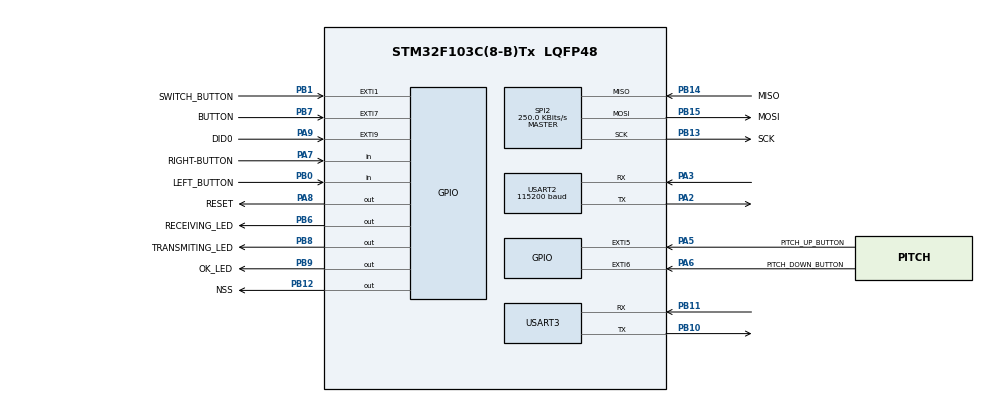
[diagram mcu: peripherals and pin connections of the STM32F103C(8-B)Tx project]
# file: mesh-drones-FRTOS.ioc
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Dma.Request0=USART2_TX
Dma.Request1=USART3_TX
Dma.Request2=USART3_RX
Dma.USART2_TX.0.Direction=DMA_MEMORY_TO_PERIPH
Dma.USART2_TX.0.Instance=DMA1_Channel7
Dma.USART2_TX.0.MemDataAlignment=DMA_MDATAALIGN_BYTE
Dma.USART2_TX.0.MemInc=DMA_MINC_ENABLE
Dma.USART2_TX.0.Mode=DMA_NORMAL
Dma.USART2_TX.0.PeriphDataAlignment=DMA_PDATAALIGN_BYTE
Dma.USART2_TX.0.PeriphInc=DMA_PINC_DISABLE
Dma.USART2_TX.0.Priority=DMA_PRIORITY_VERY_HIGH
Dma.USART3_RX.2.Direction=DMA_PERIPH_TO_MEMORY
Dma.USART3_RX.2.Instance=DMA1_Channel3
Dma.USART3_RX.2.MemDataAlignment=DMA_MDATAALIGN_BYTE
Dma.USART3_RX.2.MemInc=DMA_MINC_ENABLE
Dma.USART3_RX.2.Mode=DMA_NORMAL
Dma.USART3_RX.2.PeriphDataAlignment=DMA_PDATAALIGN_BYTE
Dma.USART3_RX.2.PeriphInc=DMA_PINC_DISABLE
Dma.USART3_RX.2.Priority=DMA_PRIORITY_LOW
Dma.USART3_TX.1.Direction=DMA_MEMORY_TO_PERIPH
Dma.USART3_TX.1.Instance=DMA1_Channel2
Dma.USART3_TX.1.MemDataAlignment=DMA_MDATAALIGN_BYTE
Dma.USART3_TX.1.MemInc=DMA_MINC_ENABLE
Dma.USART3_TX.1.Mode=DMA_NORMAL
Dma.USART3_TX.1.PeriphDataAlignment=DMA_PDATAALIGN_BYTE
Dma.USART3_TX.1.PeriphInc=DMA_PINC_DISABLE
Dma.USART3_TX.1.Priority=DMA_PRIORITY_LOW
FREERTOS.Tasks01=defaultTask,24,128,StartDefaultTask,Default,NULL,Dynamic,NULL,NULL
FREERTOS.configENABLE_FPU=1
FREERTOS.configTOTAL_HEAP_SIZE=12000
FREERTOS.configUSE_NEWLIB_REENTRANT=1
Mcu.Family=STM32F1
Mcu.Name=STM32F103C(8-B)Tx
Mcu.Package=LQFP48
NVIC.DMA1_Channel2_IRQn=true\:5\:0\:false\:false\:true\:true\:false\:true\:true
NVIC.DMA1_Channel3_IRQn=true\:5\:0\:false\:false\:true\:true\:false\:true\:true
NVIC.DMA1_Channel7_IRQn=true\:5\:0\:false\:false\:true\:true\:false\:true\:true
NVIC.EXTI1_IRQn=true\:5\:0\:false\:false\:true\:true\:true\:true\:true
NVIC.EXTI9_5_IRQn=true\:5\:0\:false\:false\:true\:true\:true\:true\:true
NVIC.PriorityGroup=NVIC_PRIORITYGROUP_4
NVIC.TIM3_IRQn=true\:15\:0\:false\:false\:true\:false\:false\:true\:true
NVIC.TimeBase=TIM3_IRQn
NVIC.TimeBaseIP=TIM3
NVIC.USART2_IRQn=true\:5\:0\:false\:false\:true\:true\:true\:true\:true
NVIC.USART3_IRQn=true\:5\:0\:false\:false\:true\:true\:true\:true\:true
PA13.Mode=Serial_Wire
PA13.Signal=SYS_JTMS-SWDIO
PA14.Mode=Serial_Wire
PA14.Signal=SYS_JTCK-SWCLK
PA2.Mode=Asynchronous
PA2.Signal=USART2_TX
PA3.Mode=Asynchronous
PA3.Signal=USART2_RX
PA5.GPIO_Label=PITCH_UP_BUTTON
PA5.GPIO_PuPd=GPIO_PULLDOWN
PA5.Signal=GPXTI5
PA6.GPIO_Label=PITCH_DOWN_BUTTON
PA6.GPIO_PuPd=GPIO_PULLDOWN
PA6.Signal=GPXTI6
PA7.GPIO_Label=RIGHT-BUTTON
PA7.Signal=GPIO_Input
PA8.GPIO_Label=RESET
PA8.PinState=GPIO_PIN_SET
PA8.Signal=GPIO_Output
PA9.GPIO_Label=DID0
PA9.Signal=GPXTI9
PB0.GPIO_Label=LEFT_BUTTON
PB0.Signal=GPIO_Input
PB1.GPIO_Label=SWITCH_BUTTON
PB1.GPIO_PuPd=GPIO_PULLDOWN
PB1.Signal=GPXTI1
PB10.Mode=Asynchronous
PB10.Signal=USART3_TX
PB11.Mode=Asynchronous
PB11.Signal=USART3_RX
PB12.GPIO_Label=NSS
PB12.PinState=GPIO_PIN_SET
PB12.Signal=GPIO_Output
PB13.GPIO_Label=SCK
PB13.Mode=Full_Duplex_Master
PB13.Signal=SPI2_SCK
PB14.GPIO_Label=MISO
PB14.Mode=Full_Duplex_Master
PB14.Signal=SPI2_MISO
PB15.GPIO_Label=MOSI
PB15.Mode=Full_Duplex_Master
PB15.Signal=SPI2_MOSI
PB6.GPIO_Label=RECEIVING_LED
PB6.Signal=GPIO_Output
PB7.GPIO_Label=BUTTON
PB7.GPIO_ModeDefaultEXTI=GPIO_MODE_IT_RISING
PB7.GPIO_PuPd=GPIO_PULLDOWN
PB7.Signal=GPXTI7
PB8.GPIO_Label=TRANSMITING_LED
PB8.Signal=GPIO_Output
PB9.GPIO_Label=OK_LED
PB9.Signal=GPIO_Output
PD0-OSC_IN.Mode=HSE-External-Oscillator
PD0-OSC_IN.Signal=RCC_OSC_IN
PD1-OSC_OUT.Mode=HSE-External-Oscillator
PD1-OSC_OUT.Signal=RCC_OSC_OUT
ProjectManager.HeapSize=0x200
ProjectManager.StackSize=0x400
ProjectManager.TargetToolchain=STM32CubeIDE
RCC.APB1Freq_Value=8000000
RCC.APB2Freq_Value=8000000
SPI2.BaudRatePrescaler=SPI_BAUDRATEPRESCALER_32
SPI2.CalculateBaudRate=250.0 KBits/s
SPI2.Direction=SPI_DIRECTION_2LINES
SPI2.Mode=SPI_MODE_MASTER
SPI2.VirtualType=VM_MASTER
USART2.BaudRate=115200
USART2.VirtualMode=VM_ASYNC
USART3.VirtualMode=VM_ASYNC
VP_FREERTOS_VS_CMSIS_V2.Mode=CMSIS_V2
VP_SYS_VS_tim3.Mode=TIM3
board=custom

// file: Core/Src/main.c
/* USER CODE BEGIN Header */
/**
  ******************************************************************************
  * @file           : main.c
  * @brief          : Main program body
  ******************************************************************************
  * @attention
  *
  * Copyright (c) 2025 STMicroelectronics.
  * All rights reserved.
  *
  * This software is licensed under terms that can be found in the LICENSE file
  * in the root directory of this software component.
  * If no LICENSE file comes with this software, it is provided AS-IS.
  *
  ******************************************************************************
  */
/* USER CODE END Header */
#include "main.h"
#include "cmsis_os.h"

/* USER CODE BEGIN Includes */
#include <stdio.h>
#include <string.h>

#include "flags.h"
#include "id.h"
#include "LoRa.h"
#include "NetworkData.h"
#include "Node.h"
#include "TX_Task.h"
#include "../Inc/Command_Queue.h"
#include "../Inc/xDrone_Link_task.h"
#include "../Inc/PING_task.h"
#include "../Inc/queue_implementation.h"
#include "../Inc/RX_Queue.h"

#include "../Inc/routing_task.h"
#include "../Inc/RX_Task.h"
#include "../Inc/tranmit_test.h"
#include "../Inc/TX_Queue.h"
#include "../Inc/arm_test.h"
#include "LoRa_Startup.h"
#include "../Inc/Logger.h"
/* USER CODE END Includes */

SPI_HandleTypeDef hspi2;

UART_HandleTypeDef huart2;
UART_HandleTypeDef huart3;
DMA_HandleTypeDef hdma_usart2_tx;
DMA_HandleTypeDef hdma_usart3_tx;
DMA_HandleTypeDef hdma_usart3_rx;

/* Definitions for defaultTask */
osThreadId_t defaultTaskHandle;
const osThreadAttr_t defaultTask_attributes = {
  .name = "defaultTask",
  .stack_size = 128 * 4,
  .priority = (osPriority_t) osPriorityNormal,
};

/* USER CODE BEGIN PV */
TaskHandle_t rxTaskHandle;
TaskHandle_t txTaskHandle;
TaskHandle_t routingTaskHandle;
TaskHandle_t pingTaskHandle;
TaskHandle_t drone_linkTaskHandle;
/* USER CODE END PV */

void SystemClock_Config(void);
static void MX_GPIO_Init(void);
static void MX_DMA_Init(void);
static void MX_SPI2_Init(void);
static void MX_USART2_UART_Init(void);
static void MX_USART3_UART_Init(void);
void StartDefaultTask(void *argument);

int main(void)
{

  /* MCU Configuration--------------------------------------------------------*/

  /* Reset of all peripherals, Initializes the Flash interface and the Systick. */
  HAL_Init();

  /* Configure the system clock */
  SystemClock_Config();

  /* Initialize all configured peripherals */
  MX_GPIO_Init();
  MX_DMA_Init();
  MX_SPI2_Init();
  MX_USART2_UART_Init();
  MX_USART3_UART_Init();
  /* USER CODE BEGIN 2 */

    flags_init();
    node_id_init();
    RX_Queue_init();
    TX_Queue_init();
    Command_Queue_init();
    LoRa_Startup();
    network_data_init();
    Drone_link_init();
    logger_init();

  /* USER CODE END 2 */

  /* Init scheduler */
  osKernelInitialize();

  /* Create the thread(s) */
  /* creation of defaultTask */
  defaultTaskHandle = osThreadNew(StartDefaultTask, NULL, &defaultTask_attributes);

  /* USER CODE BEGIN RTOS_THREADS */

        bool tasks_created_successfully =false;

        tasks_created_successfully = xTaskCreate(xRX_Task, "RX_Task", configMINIMAL_STACK_SIZE, 0, 6, &rxTaskHandle);
        tasks_created_successfully = xTaskCreate(routing_task, "Routing_Task", configMINIMAL_STACK_SIZE, 0, 5,
                                                    &routingTaskHandle);
        tasks_created_successfully = xTaskCreate(xPing_task, "Ping Task", 500, 0, 5, &pingTaskHandle);
        tasks_created_successfully = xTaskCreate(xTX_task, "TX_Task", 500, 0, 5, &txTaskHandle);
        tasks_created_successfully = xTaskCreate(xDrone_link_task, "Drone_Link_Task", 300, 0, 5, &drone_linkTaskHandle);
        log(INFO,SYSTEM,tasks_created_successfully ? "all Tasks created successfully" : "a task did not create successfully");

    //

    /* add threads, ... */
  /* USER CODE END RTOS_THREADS */

  /* Start scheduler */
  osKernelStart();

  /* We should never get here as control is now taken by the scheduler */

  /* Infinite loop */
    while (1) {

    }
}

void SystemClock_Config(void)
{
  RCC_OscInitTypeDef RCC_OscInitStruct = {0};
  RCC_ClkInitTypeDef RCC_ClkInitStruct = {0};

  /** Initializes the RCC Oscillators according to the specified parameters
  * in the RCC_OscInitTypeDef structure.
  */
  RCC_OscInitStruct.OscillatorType = RCC_OSCILLATORTYPE_HSI;
  RCC_OscInitStruct.HSIState = RCC_HSI_ON;
  RCC_OscInitStruct.HSICalibrationValue = RCC_HSICALIBRATION_DEFAULT;
  RCC_OscInitStruct.PLL.PLLState = RCC_PLL_NONE;
  if (HAL_RCC_OscConfig(&RCC_OscInitStruct) != HAL_OK)
  {
    Error_Handler();
  }

  /** Initializes the CPU, AHB and APB buses clocks
  */
  RCC_ClkInitStruct.ClockType = RCC_CLOCKTYPE_HCLK|RCC_CLOCKTYPE_SYSCLK
                              |RCC_CLOCKTYPE_PCLK1|RCC_CLOCKTYPE_PCLK2;
  RCC_ClkInitStruct.SYSCLKSource = RCC_SYSCLKSOURCE_HSI;
  RCC_ClkInitStruct.AHBCLKDivider = RCC_SYSCLK_DIV1;
  RCC_ClkInitStruct.APB1CLKDivider = RCC_HCLK_DIV1;
  RCC_ClkInitStruct.APB2CLKDivider = RCC_HCLK_DIV1;

  if (HAL_RCC_ClockConfig(&RCC_ClkInitStruct, FLASH_LATENCY_0) != HAL_OK)
  {
    Error_Handler();
  }
}

static void MX_SPI2_Init(void)
{

  /* SPI2 parameter configuration*/
  hspi2.Instance = SPI2;
  hspi2.Init.Mode = SPI_MODE_MASTER;
  hspi2.Init.Direction = SPI_DIRECTION_2LINES;
  hspi2.Init.DataSize = SPI_DATASIZE_8BIT;
  hspi2.Init.CLKPolarity = SPI_POLARITY_LOW;
  hspi2.Init.CLKPhase = SPI_PHASE_1EDGE;
  hspi2.Init.NSS = SPI_NSS_SOFT;
  hspi2.Init.BaudRatePrescaler = SPI_BAUDRATEPRESCALER_32;
  hspi2.Init.FirstBit = SPI_FIRSTBIT_MSB;
  hspi2.Init.TIMode = SPI_TIMODE_DISABLE;
  hspi2.Init.CRCCalculation = SPI_CRCCALCULATION_DISABLE;
  hspi2.Init.CRCPolynomial = 10;
  if (HAL_SPI_Init(&hspi2) != HAL_OK)
  {
    Error_Handler();
  }

}

static void MX_USART2_UART_Init(void)
{

  huart2.Instance = USART2;
  huart2.Init.BaudRate = 115200;
  huart2.Init.WordLength = UART_WORDLENGTH_8B;
  huart2.Init.StopBits = UART_STOPBITS_1;
  huart2.Init.Parity = UART_PARITY_NONE;
  huart2.Init.Mode = UART_MODE_TX_RX;
  huart2.Init.HwFlowCtl = UART_HWCONTROL_NONE;
  huart2.Init.OverSampling = UART_OVERSAMPLING_16;
  if (HAL_UART_Init(&huart2) != HAL_OK)
  {
    Error_Handler();
  }

}

static void MX_USART3_UART_Init(void)
{

  huart3.Instance = USART3;
  huart3.Init.BaudRate = 115200;
  huart3.Init.WordLength = UART_WORDLENGTH_8B;
  huart3.Init.StopBits = UART_STOPBITS_1;
  huart3.Init.Parity = UART_PARITY_NONE;
  huart3.Init.Mode = UART_MODE_TX_RX;
  huart3.Init.HwFlowCtl = UART_HWCONTROL_NONE;
  huart3.Init.OverSampling = UART_OVERSAMPLING_16;
  if (HAL_UART_Init(&huart3) != HAL_OK)
  {
    Error_Handler();
  }

}

static void MX_DMA_Init(void)
{

  /* DMA controller clock enable */
  __HAL_RCC_DMA1_CLK_ENABLE();

  /* DMA interrupt init */
  /* DMA1_Channel2_IRQn interrupt configuration */
  HAL_NVIC_SetPriority(DMA1_Channel2_IRQn, 5, 0);
  HAL_NVIC_EnableIRQ(DMA1_Channel2_IRQn);
  /* DMA1_Channel3_IRQn interrupt configuration */
  HAL_NVIC_SetPriority(DMA1_Channel3_IRQn, 5, 0);
  HAL_NVIC_EnableIRQ(DMA1_Channel3_IRQn);
  /* DMA1_Channel7_IRQn interrupt configuration */
  HAL_NVIC_SetPriority(DMA1_Channel7_IRQn, 5, 0);
  HAL_NVIC_EnableIRQ(DMA1_Channel7_IRQn);

}

static void MX_GPIO_Init(void)
{
  GPIO_InitTypeDef GPIO_InitStruct = {0};

  /* GPIO Ports Clock Enable */
  __HAL_RCC_GPIOD_CLK_ENABLE();
  __HAL_RCC_GPIOA_CLK_ENABLE();
  __HAL_RCC_GPIOB_CLK_ENABLE();

  /*Configure GPIO pin Output Level */
  HAL_GPIO_WritePin(NSS_GPIO_Port, NSS_Pin, GPIO_PIN_SET);

  /*Configure GPIO pin Output Level */
  HAL_GPIO_WritePin(RESET_GPIO_Port, RESET_Pin, GPIO_PIN_SET);

  /*Configure GPIO pin Output Level */
  HAL_GPIO_WritePin(GPIOB, RECEIVING_LED_Pin|TRANSMITING_LED_Pin|OK_LED_Pin, GPIO_PIN_RESET);

  /*Configure GPIO pins : PITCH_UP_BUTTON_Pin PITCH_DOWN_BUTTON_Pin */
  GPIO_InitStruct.Pin = PITCH_UP_BUTTON_Pin|PITCH_DOWN_BUTTON_Pin;
  GPIO_InitStruct.Mode = GPIO_MODE_IT_RISING;
  GPIO_InitStruct.Pull = GPIO_PULLDOWN;
  HAL_GPIO_Init(GPIOA, &GPIO_InitStruct);

  /*Configure GPIO pin : RIGHT_BUTTON_Pin */
  GPIO_InitStruct.Pin = RIGHT_BUTTON_Pin;
  GPIO_InitStruct.Mode = GPIO_MODE_INPUT;
  GPIO_InitStruct.Pull = GPIO_NOPULL;
  HAL_GPIO_Init(RIGHT_BUTTON_GPIO_Port, &GPIO_InitStruct);

  /*Configure GPIO pin : LEFT_BUTTON_Pin */
  GPIO_InitStruct.Pin = LEFT_BUTTON_Pin;
  GPIO_InitStruct.Mode = GPIO_MODE_INPUT;
  GPIO_InitStruct.Pull = GPIO_NOPULL;
  HAL_GPIO_Init(LEFT_BUTTON_GPIO_Port, &GPIO_InitStruct);

  /*Configure GPIO pins : SWITCH_BUTTON_Pin BUTTON_Pin */
  GPIO_InitStruct.Pin = SWITCH_BUTTON_Pin|BUTTON_Pin;
  GPIO_InitStruct.Mode = GPIO_MODE_IT_RISING;
  GPIO_InitStruct.Pull = GPIO_PULLDOWN;
  HAL_GPIO_Init(GPIOB, &GPIO_InitStruct);

  /*Configure GPIO pins : NSS_Pin RECEIVING_LED_Pin TRANSMITING_LED_Pin OK_LED_Pin */
  GPIO_InitStruct.Pin = NSS_Pin|RECEIVING_LED_Pin|TRANSMITING_LED_Pin|OK_LED_Pin;
  GPIO_InitStruct.Mode = GPIO_MODE_OUTPUT_PP;
  GPIO_InitStruct.Pull = GPIO_NOPULL;
  GPIO_InitStruct.Speed = GPIO_SPEED_FREQ_LOW;
  HAL_GPIO_Init(GPIOB, &GPIO_InitStruct);

  /*Configure GPIO pin : RESET_Pin */
  GPIO_InitStruct.Pin = RESET_Pin;
  GPIO_InitStruct.Mode = GPIO_MODE_OUTPUT_PP;
  GPIO_InitStruct.Pull = GPIO_NOPULL;
  GPIO_InitStruct.Speed = GPIO_SPEED_FREQ_LOW;
  HAL_GPIO_Init(RESET_GPIO_Port, &GPIO_InitStruct);

  /*Configure GPIO pin : DID0_Pin */
  GPIO_InitStruct.Pin = DID0_Pin;
  GPIO_InitStruct.Mode = GPIO_MODE_IT_RISING;
  GPIO_InitStruct.Pull = GPIO_NOPULL;
  HAL_GPIO_Init(DID0_GPIO_Port, &GPIO_InitStruct);

  /* EXTI interrupt init*/
  HAL_NVIC_SetPriority(EXTI1_IRQn, 5, 0);
  HAL_NVIC_EnableIRQ(EXTI1_IRQn);

  HAL_NVIC_SetPriority(EXTI9_5_IRQn, 5, 0);
  HAL_NVIC_EnableIRQ(EXTI9_5_IRQn);

}

/* USER CODE BEGIN 4 */
void HAL_GPIO_EXTI_Callback(uint16_t GPIO_Pin) {
    BaseType_t xHigherPriorityTaskWoken = pdFALSE;
    if (GPIO_Pin == DID0_Pin) {
      vTaskNotifyGiveFromISR(rxTaskHandle, &xHigherPriorityTaskWoken);
      portYIELD_FROM_ISR(xHigherPriorityTaskWoken);
    }else if (GPIO_Pin ==SWITCH_BUTTON_Pin) {
      //TODO : send command to current selected drone
      send_command_fromISR(SWITCH,&xHigherPriorityTaskWoken);

    }
    else if (GPIO_Pin ==PITCH_UP_BUTTON_Pin) {
      send_command_fromISR(PITCH_UP,&xHigherPriorityTaskWoken);

    }
    else if (GPIO_Pin ==PITCH_DOWN_BUTTON_Pin) {
      send_command_fromISR(PITCH_DOWN, &xHigherPriorityTaskWoken);

    }

  portYIELD_FROM_ISR(xHigherPriorityTaskWoken);
}
void HAL_UART_TxCpltCallback(UART_HandleTypeDef *huart) {
  if (huart->Instance == USART2) {
    uart2_dma_busy = pdFALSE;

  }else if (huart->Instance == USART3) {
    uart3_dma_busy = pdFALSE;
  }
}

void vApplicationStackOverflowHook(TaskHandle_t xTask, char *pcTaskName) {
  // Breakpoint here
  for(;;);
}
/* USER CODE END 4 */

void StartDefaultTask(void *argument)
{
  /* USER CODE BEGIN 5 */
    vTaskSuspend(NULL);  // safe    /* Infinite loop */
    for (;;) {
        osDelay(1);
    }
  /* USER CODE END 5 */
}

void HAL_TIM_PeriodElapsedCallback(TIM_HandleTypeDef *htim)
{
  if (htim->Instance == TIM3)
  {
    HAL_IncTick();
  }
}

void Error_Handler(void)
{
    __disable_irq();
    while (1) {
    }
}
